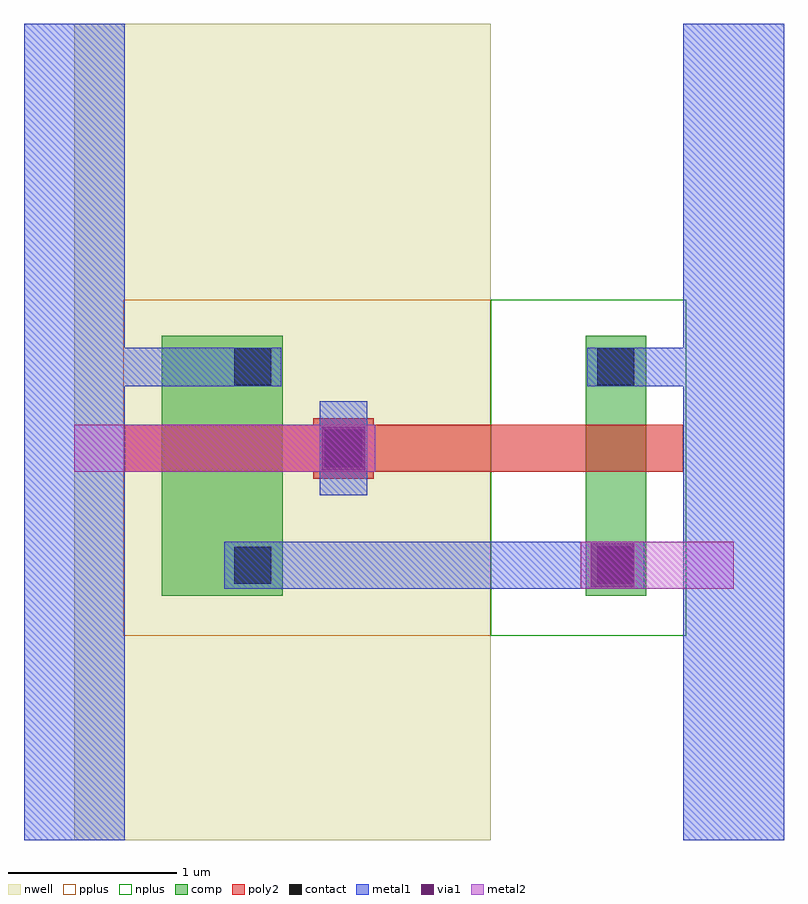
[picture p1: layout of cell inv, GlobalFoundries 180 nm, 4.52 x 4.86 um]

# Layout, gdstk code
import gdstk
lib = gdstk.Library(unit=1e-6, precision=5e-09)
def R(c, l, rs):  # rectangles x0, y0, x1, y1
    for r in rs: c.add(gdstk.rectangle(r[:2], r[2:], *l))
nwell = (21, 0)
comp = (22, 0)
poly2 = (30, 0)
pplus = (31, 0)
nplus = (32, 0)
contact = (33, 0)
metal1 = (34, 0)
via1 = (35, 0)
metal2 = (36, 0)

inv = lib.new_cell('inv')
R(inv, nwell, [(7.49,1.1,9.965,5.955)])
R(inv, comp, [(8.01,2.555,8.73,4.1), (10.53,2.555,10.89,4.1)])
R(inv, poly2, [(8.91,3.25,9.27,3.61), (7.79,3.29,11.11,3.57)])
R(inv, pplus, [(7.78,2.315,9.965,4.315)])
R(inv, nplus, [(9.965,2.315,11.13,4.315)])
R(inv, contact, [(8.44,2.625,8.66,2.845), (10.6,2.625,10.82,2.845), (8.98,3.32,9.2,3.54), (8.44,3.805,8.66,4.025), (10.6,3.805,10.82,4.025)])
R(inv, metal1, [(7.19,1.1,7.79,5.955), (11.11,1.1,11.71,5.955), (8.38,2.595,10.88,2.875), (8.95,3.15,9.23,3.71), (7.79,3.8,8.72,4.03), (10.54,3.8,11.11,4.03)])
R(inv, via1, [(10.56,2.605,10.82,2.865), (8.96,3.3,9.22,3.56)])
R(inv, metal2, [(10.5,2.595,11.41,2.875), (7.49,3.29,9.28,3.57)])

lib.write_gds('inv.gds')
